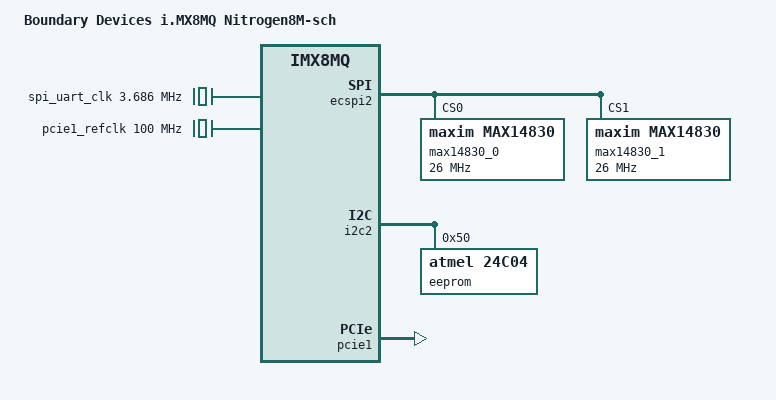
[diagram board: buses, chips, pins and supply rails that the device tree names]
// SPDX-License-Identifier: (GPL-2.0+ OR MIT)
/*
 * Copyright 2020 Boundary Devices
 */

#include "imx8mq-nitrogen8m.dts"
&iomuxc {
	pinctrl_ecspi2: ecspi2grp {
		fsl,pins = <
			/* J17 */
#define GP_ECSPI2_CS0	<&gpio5 13 GPIO_ACTIVE_LOW>
			MX8MQ_IOMUXC_ECSPI2_SS0_GPIO5_IO13		0x19	/* J1, Pin 1 */
#define GP_ECSPI2_CS1	<&gpio3 2 GPIO_ACTIVE_LOW>
			MX8MQ_IOMUXC_NAND_CE1_B_GPIO3_IO2		0x19	/* J6 Pin 37 */
			MX8MQ_IOMUXC_ECSPI2_MISO_ECSPI2_MISO		0x19	/* J1, Pin 3 */
			MX8MQ_IOMUXC_ECSPI2_SCLK_ECSPI2_SCLK		0x19	/* J1, Pin 5 */
			MX8MQ_IOMUXC_ECSPI2_MOSI_ECSPI2_MOSI		0x19	/* J1, Pin 7 */
		>;
	};

	pinctrl_ecspi2_max14830_0: ecspi2-max14830-0grp {
		fsl,pins = <
#define GP_MAX14830_RESET_0	<&gpio3 11 GPIO_ACTIVE_LOW>
			MX8MQ_IOMUXC_NAND_DATA05_GPIO3_IO11		0x59	/* J6, Pin 47 */
#define GPIRQ_MAX14830_0	<&gpio3 16 IRQ_TYPE_LEVEL_LOW>
			MX8MQ_IOMUXC_NAND_READY_B_GPIO3_IO16		0x59	/* J6, Pin 45 */
		>;
	};

	pinctrl_ecspi2_max14830_1: ecspi2-max14830-1grp {
		fsl,pins = <
#define GP_MAX14830_RESET_1	<&gpio3 3 GPIO_ACTIVE_LOW>
			MX8MQ_IOMUXC_NAND_CE2_B_GPIO3_IO3		0x59	/* J6, Pin 39 */
#define GPIRQ_MAX14830_1	<&gpio3 5 IRQ_TYPE_LEVEL_LOW>
			MX8MQ_IOMUXC_NAND_CLE_GPIO3_IO5			0x59	/* J6, Pin 43 */
		>;
	};

	pinctrl_eeprom: eepromgrp {
		fsl,pins = <
#define GP_EEROM_WP	<&gpio3 4 GPIO_ACTIVE_HIGH>
			MX8MQ_IOMUXC_NAND_CE3_B_GPIO3_IO4		0x19	/* J18, Pin 41 */
		>;
	};

	pinctrl_hog: hoggrp {
		fsl,pins = <
			/* J17 connector, odd */
			MX8MQ_IOMUXC_SAI1_RXFS_GPIO4_IO0		0x19	/* Pin 19 */
			MX8MQ_IOMUXC_SAI1_RXC_GPIO4_IO1			0x19	/* Pin 21 */
			MX8MQ_IOMUXC_SAI1_RXD1_GPIO4_IO3		0x19	/* Pin 23 */
			MX8MQ_IOMUXC_SAI1_RXD2_GPIO4_IO4		0x19	/* Pin 25 */
			MX8MQ_IOMUXC_SAI1_RXD3_GPIO4_IO5		0x19	/* Pin 27 */
			MX8MQ_IOMUXC_SAI1_RXD4_GPIO4_IO6		0x19	/* Pin 29 */
			MX8MQ_IOMUXC_SAI1_RXD5_GPIO4_IO7		0x19	/* Pin 31 */
			MX8MQ_IOMUXC_SAI1_RXD6_GPIO4_IO8		0x19	/* Pin 33 */
			MX8MQ_IOMUXC_SAI1_RXD7_GPIO4_IO9		0x19	/* Pin 35 */
			MX8MQ_IOMUXC_SAI1_TXD1_GPIO4_IO13		0x19	/* Pin 39 */
			MX8MQ_IOMUXC_SAI1_TXD2_GPIO4_IO14		0x19	/* Pin 41 */
			MX8MQ_IOMUXC_SAI1_TXD3_GPIO4_IO15		0x19	/* Pin 43 */
			MX8MQ_IOMUXC_SAI1_TXD4_GPIO4_IO16		0x19	/* Pin 45 */
			MX8MQ_IOMUXC_SAI1_TXD5_GPIO4_IO17		0x19	/* Pin 47 */
			MX8MQ_IOMUXC_SAI1_TXD6_GPIO4_IO18		0x19	/* Pin 49 */
			MX8MQ_IOMUXC_SAI1_TXD7_GPIO4_IO19		0x19	/* Pin 51 */

			/* J17 connector, even */
			MX8MQ_IOMUXC_SAI3_RXFS_GPIO4_IO28		0x19	/* Pin 44 */
			MX8MQ_IOMUXC_SAI3_RXC_GPIO4_IO29		0x19	/* Pin 48 */
			MX8MQ_IOMUXC_GPIO1_IO10_GPIO1_IO10		0x19	/* Pin 50 */
			MX8MQ_IOMUXC_GPIO1_IO03_GPIO1_IO3		0x19	/* Pin 54 */
			MX8MQ_IOMUXC_GPIO1_IO05_GPIO1_IO5		0x19	/* Pin 56 */

			/* J18 connector, odd */
			MX8MQ_IOMUXC_NAND_WP_B_GPIO3_IO18		0x19	/* Pin 49 */
			MX8MQ_IOMUXC_NAND_DQS_GPIO3_IO14		0x19	/* Pin 53 */

			/* J18 connector, even */
			MX8MQ_IOMUXC_NAND_ALE_GPIO3_IO0			0x19	/* Pin 32 */
			MX8MQ_IOMUXC_NAND_CE0_B_GPIO3_IO1		0x19	/* Pin 36 */
			MX8MQ_IOMUXC_NAND_DATA00_GPIO3_IO6		0x19	/* Pin 38 */
			MX8MQ_IOMUXC_NAND_DATA01_GPIO3_IO7		0x19	/* Pin 40 */
			MX8MQ_IOMUXC_NAND_DATA02_GPIO3_IO8		0x19	/* Pin 42 */
			MX8MQ_IOMUXC_NAND_DATA03_GPIO3_IO9		0x19	/* Pin 44 */
			MX8MQ_IOMUXC_NAND_DATA04_GPIO3_IO10		0x19	/* Pin 46 */

			/* J13 Pin 2, WL_WAKE */
			MX8MQ_IOMUXC_SAI5_RXD2_GPIO3_IO23		0xd6
			/* J13 Pin 4, WL_IRQ, not needed for Silex */
			MX8MQ_IOMUXC_SAI5_RXD0_GPIO3_IO21		0xd6
			/* J13 pin 9, unused */
			MX8MQ_IOMUXC_SD2_CD_B_GPIO2_IO12		0x19
			/* J13 Pin 41, BT_CLK_REQ */
			MX8MQ_IOMUXC_SAI5_RXD1_GPIO3_IO22		0xd6
			/* J13 Pin 42, BT_HOST_WAKE */
			MX8MQ_IOMUXC_SAI5_MCLK_GPIO3_IO25		0xd6

			/* Clock for both CSI1 and CSI2 */
			MX8MQ_IOMUXC_GPIO1_IO15_CCMSRCGPCMIX_CLKO2	0x07
		>;
	};

	pinctrl_pcie1: pcie1grp {
		fsl,pins = <
#define GP_PCIE1_RESET		<&gpio4 27 GPIO_ACTIVE_LOW>
			MX8MQ_IOMUXC_SAI2_MCLK_GPIO4_IO27	0x16
#define GP_LAN7430_RESET	<&gpio4 23 GPIO_ACTIVE_LOW>
			MX8MQ_IOMUXC_SAI2_RXD0_GPIO4_IO23	0x56
		>;
	};
};

/ {
	model = "Boundary Devices i.MX8MQ Nitrogen8M-sch";
	compatible = "boundary,imx8mq-nitrogen8m-sch", "fsl,imx8mq";

	clocks {
		spi_uart_clk: osc_max14830 {
			compatible = "fixed-clock";
			#clock-cells = <0>;
			clock-frequency = <3686400>;
		};

		pcie1_refclk: pcie1-refclk {
			compatible = "fixed-clock";
			#clock-cells = <0>;
			clock-frequency = <100000000>;
		};
	};
};

/delete-node/ &csi1_bridge;
/delete-node/ &csi2_bridge;

&ecspi2 {
	fsl,spi-num-chipselects = <2>;
	cs-gpios = GP_ECSPI2_CS0, GP_ECSPI2_CS1;
	/delete-node/ spidev@0;

	max14830_0: max14830@0 {
		clocks = <&spi_uart_clk>;
		clock-names = "xtal";
		compatible = "maxim,max14830";
		interrupts-extended = GPIRQ_MAX14830_0;
		linux,rs485-enabled-at-boot-time;
		pinctrl-names = "default";
		pinctrl-0 = <&pinctrl_ecspi2_max14830_0>;
		reg = <0>;
		rs485-rts-delay = <1 1>;
		spi-max-frequency = <26000000>;
	};

	max14830_1: max14830@1 {
		clocks = <&spi_uart_clk>;
		clock-names = "xtal";
		compatible = "maxim,max14830";
		interrupts-extended = GPIRQ_MAX14830_1;
		linux,rs485-enabled-at-boot-time;
		pinctrl-names = "default";
		pinctrl-0 = <&pinctrl_ecspi2_max14830_1>;
		reg = <1>;
		rs485-rts-delay = <1 1>;
		spi-max-frequency = <26000000>;
	};
};

&i2c2 {
	/delete-node/ ov5640-mipi1@3c;

	eeprom@50 {
		compatible = "atmel,24c04";
		pagesize = <16>;
		pinctrl-names = "default";
		pinctrl-0 = <&pinctrl_eeprom>;
		reg = <0x50>;
		wp-gpio = GP_EEROM_WP;
	};
};

&i2c3 {
	/delete-node/ ov5640-mipi2@3c;
};

&mipi_csi_1 {
	/delete-node/ port;
};

&mipi_csi_2 {
	/delete-node/ port;
};

&pcie1 {
	clocks = <&clk IMX8MQ_CLK_PCIE2_ROOT>,
		<&clk IMX8MQ_CLK_PCIE2_AUX>,
		<&clk IMX8MQ_CLK_PCIE2_PHY>,
		<&pcie1_refclk>;
	clock-names = "pcie", "pcie_aux", "pcie_phy", "pcie_bus";
	ext_osc = <1>;
	hard-wired;
	pinctrl-names = "default";
	pinctrl-0 = <&pinctrl_pcie1>;
	reset-gpio = GP_PCIE1_RESET, GP_LAN7430_RESET;
	status = "okay";
};

&sai2 {
	status = "disabled";
};
